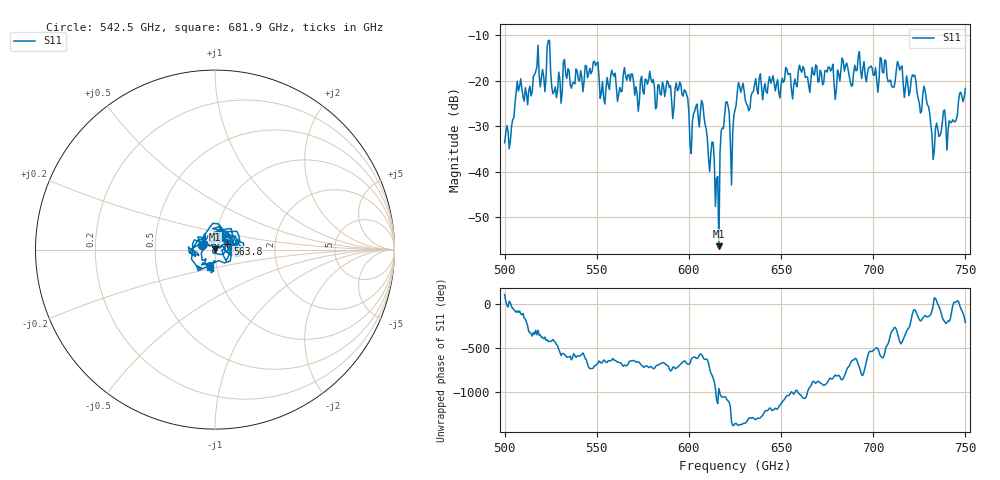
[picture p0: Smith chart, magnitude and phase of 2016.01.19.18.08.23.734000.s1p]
!Created with skrf (http://scikit-rf.org).
# GHz S RI R 50.0
!freq ReS11 ImS11
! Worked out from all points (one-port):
!   401 points, 500 GHz to 750 GHz, reference 50 ohm
!   lowest |S11| = -56.3 dB at 616.2 GHz (marker M1), VSWR 1.00, Z = 49.9 + j0.135 ohm
!   |S11| at or under -10 dB: start of sweep to end of sweep
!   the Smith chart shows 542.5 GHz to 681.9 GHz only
!   S11 on the Smith chart (normalised r, x): 542.5 GHz: 0.87, +0.05; 563.8 GHz: 1.15, +0.07; 681.9 GHz: 0.93, -0.18
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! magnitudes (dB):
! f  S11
! 500 GHz  -33.6
! 507.5 GHz  -22.3
! 513.8 GHz  -21.2
! 516.9 GHz  -18.0
! 531.2 GHz  -22.6
! 542.5 GHz  -22.4
! 549.4 GHz  -16.7
! 553.1 GHz  -20.2
! 558.8 GHz  -18.6
! 562.5 GHz  -21.5
! 563.8 GHz  -22.3
! 593.8 GHz  -22.2
! 601.2 GHz  -36.0
! 607.5 GHz  -25.1
! 615 GHz  -41.4
! 616.2 GHz  -56.3
! 619.4 GHz  -27.6
! 623.1 GHz  -42.9
! 625 GHz  -26.5
! 628.1 GHz  -22.6
! 656.2 GHz  -24.0
! 681.9 GHz  -20.1
! 687.5 GHz  -20.1
! 714.4 GHz  -17.7
! 718.8 GHz  -20.6
! 728.8 GHz  -23.9
! 732.5 GHz  -37.3
! 750 GHz  -21.7
